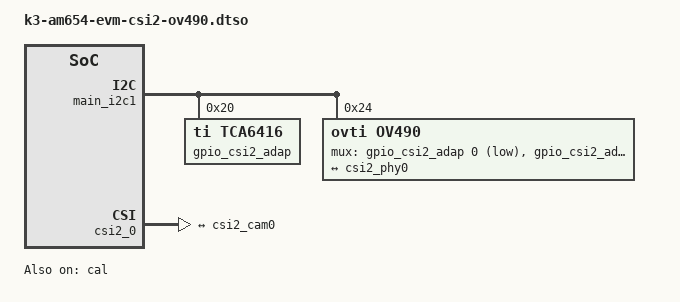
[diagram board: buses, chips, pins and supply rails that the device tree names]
// SPDX-License-Identifier: GPL-2.0
/*
 * Copyright (C) 2018 Texas Instruments Incorporated - http://www.ti.com/
 */

/dts-v1/;
/plugin/;
#include <dt-bindings/gpio/gpio.h>

&main_i2c1 {
	#address-cells = <1>;
	#size-cells = <0>;
	gpio_csi2_adap: tca6416@20 {
		status = "okay";
		compatible = "ti,tca6416";
		reg = <0x20>;
		gpio-controller;
		#gpio-cells = <2>;
	};

	ov490@24 {
		compatible = "ovti,ov490";
		reg = <0x24>;

		mux-gpios = <&gpio_csi2_adap 0  GPIO_ACTIVE_LOW>,
						/* CSI2_SEL_I2C_CLK */
			    <&gpio_csi2_adap 1  GPIO_ACTIVE_HIGH>,
						/* CSI2_SEL_REF_CLK */
			    <&gpio_csi2_adap 3  GPIO_ACTIVE_HIGH>,
						/* CSI2_CAM0_RESETn */
			    <&gpio_csi2_adap 4  GPIO_ACTIVE_LOW>;
						/* CSI2_CAM0_PWR_DWN */
		port {
			csi2_cam0: endpoint@0 {
				clock-lanes = <0>;
				data-lanes = <1 2 3 4>;
				remote-endpoint = <&csi2_phy0>;
			};
		};
	};
};

&cal {
	status = "okay";
};

&csi2_0 {
	csi2_phy0: endpoint@0 {
		slave-mode;
		remote-endpoint = <&csi2_cam0>;
	};
};
